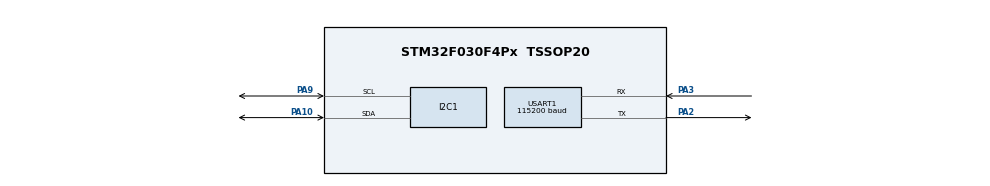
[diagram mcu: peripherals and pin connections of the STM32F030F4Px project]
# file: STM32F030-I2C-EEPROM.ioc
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Dma.Request0=USART1_TX
Dma.USART1_TX.0.Direction=DMA_MEMORY_TO_PERIPH
Dma.USART1_TX.0.Instance=DMA1_Channel4
Dma.USART1_TX.0.MemDataAlignment=DMA_MDATAALIGN_BYTE
Dma.USART1_TX.0.MemInc=DMA_MINC_ENABLE
Dma.USART1_TX.0.Mode=DMA_NORMAL
Dma.USART1_TX.0.PeriphDataAlignment=DMA_PDATAALIGN_BYTE
Dma.USART1_TX.0.PeriphInc=DMA_PINC_DISABLE
Dma.USART1_TX.0.Priority=DMA_PRIORITY_HIGH
Mcu.Family=STM32F0
Mcu.Name=STM32F030F4Px
Mcu.Package=TSSOP20
NVIC.DMA1_Channel4_5_IRQn=true\:0\:0\:false\:false\:true\:false\:true
NVIC.USART1_IRQn=true\:0\:0\:false\:false\:true\:true\:true
PA10.Mode=I2C
PA10.Signal=I2C1_SDA
PA2.Mode=Asynchronous
PA2.Signal=USART1_TX
PA3.Mode=Asynchronous
PA3.Signal=USART1_RX
PA9.Mode=I2C
PA9.Signal=I2C1_SCL
ProjectManager.HeapSize=0x200
ProjectManager.StackSize=0x400
ProjectManager.TargetToolchain=MDK-ARM V5.27
USART1.BaudRate=115200
USART1.VirtualMode-Asynchronous=VM_ASYNC
board=custom

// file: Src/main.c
/* USER CODE BEGIN Header */
/**
  ******************************************************************************
  * @file           : main.c
  * @brief          : Main program body
  ******************************************************************************
  * @attention
  *
  * <h2><center>&copy; Copyright (c) 2020 STMicroelectronics.
  * All rights reserved.</center></h2>
  *
  * This software component is licensed by ST under BSD 3-Clause license,
  * the "License"; You may not use this file except in compliance with the
  * License. You may obtain a copy of the License at:
  *                        opensource.org/licenses/BSD-3-Clause
  *
  ******************************************************************************
  */
/* USER CODE END Header */

#include "main.h"

/* USER CODE BEGIN Includes */

#include <stdio.h>

/* USER CODE END Includes */

I2C_HandleTypeDef hi2c1;

UART_HandleTypeDef huart1;
DMA_HandleTypeDef hdma_usart1_tx;

void SystemClock_Config(void);
static void MX_GPIO_Init(void);
static void MX_DMA_Init(void);
static void MX_I2C1_Init(void);
static void MX_USART1_UART_Init(void);

/* USER CODE BEGIN 0 */

uint8_t UART_TxBuf[50];
uint8_t i2cReadBuf[10];
uint8_t i2cWriteBuf[10];

#define LogLocal(...)  do{}while(HAL_UART_Transmit_DMA(&huart1,UART_TxBuf,sprintf((char *)UART_TxBuf,__VA_ARGS__)))

/* USER CODE END 0 */

int main(void)
{

  /* MCU Configuration--------------------------------------------------------*/

  /* Reset of all peripherals, Initializes the Flash interface and the Systick. */
  HAL_Init();

  /* Configure the system clock */
  SystemClock_Config();

  /* Initialize all configured peripherals */
  MX_GPIO_Init();
  MX_DMA_Init();
  MX_I2C1_Init();
  MX_USART1_UART_Init();
  /* USER CODE BEGIN 2 */

	for(uint8_t _i = 0; _i < 10; _i ++){
		i2cWriteBuf[_i] = '0' + _i;
	}
	if(HAL_I2C_Mem_Write(&hi2c1,0xA0,100,I2C_MEMADD_SIZE_16BIT,i2cWriteBuf,10,10) == HAL_OK){
		LogLocal("I2c Successful\r\n");
	}
	else{
		LogLocal("I2c Error\r\n");
	}

  /* USER CODE END 2 */

  /* Infinite loop */
  while (1)
  {

    /* USER CODE BEGIN 3 */
		HAL_Delay(500);
		if(HAL_OK == HAL_I2C_Mem_Read(&hi2c1,0xa0,100,I2C_MEMADD_SIZE_16BIT,i2cReadBuf,9,10)){
			i2cReadBuf[9] = 0;
			LogLocal("Read:%s\r\n",i2cReadBuf);
		}
		else{
			LogLocal("Read error\r\n");
		}

  }
  /* USER CODE END 3 */
}

void SystemClock_Config(void)
{
  RCC_OscInitTypeDef RCC_OscInitStruct = {0};
  RCC_ClkInitTypeDef RCC_ClkInitStruct = {0};
  RCC_PeriphCLKInitTypeDef PeriphClkInit = {0};

  /** Initializes the CPU, AHB and APB busses clocks
  */
  RCC_OscInitStruct.OscillatorType = RCC_OSCILLATORTYPE_HSI;
  RCC_OscInitStruct.HSIState = RCC_HSI_ON;
  RCC_OscInitStruct.HSICalibrationValue = RCC_HSICALIBRATION_DEFAULT;
  RCC_OscInitStruct.PLL.PLLState = RCC_PLL_NONE;
  if (HAL_RCC_OscConfig(&RCC_OscInitStruct) != HAL_OK)
  {
    Error_Handler();
  }
  /** Initializes the CPU, AHB and APB busses clocks
  */
  RCC_ClkInitStruct.ClockType = RCC_CLOCKTYPE_HCLK|RCC_CLOCKTYPE_SYSCLK
                              |RCC_CLOCKTYPE_PCLK1;
  RCC_ClkInitStruct.SYSCLKSource = RCC_SYSCLKSOURCE_HSI;
  RCC_ClkInitStruct.AHBCLKDivider = RCC_SYSCLK_DIV1;
  RCC_ClkInitStruct.APB1CLKDivider = RCC_HCLK_DIV1;

  if (HAL_RCC_ClockConfig(&RCC_ClkInitStruct, FLASH_LATENCY_0) != HAL_OK)
  {
    Error_Handler();
  }
  PeriphClkInit.PeriphClockSelection = RCC_PERIPHCLK_USART1|RCC_PERIPHCLK_I2C1;
  PeriphClkInit.Usart1ClockSelection = RCC_USART1CLKSOURCE_PCLK1;
  PeriphClkInit.I2c1ClockSelection = RCC_I2C1CLKSOURCE_HSI;
  if (HAL_RCCEx_PeriphCLKConfig(&PeriphClkInit) != HAL_OK)
  {
    Error_Handler();
  }
}

static void MX_I2C1_Init(void)
{

  hi2c1.Instance = I2C1;
  hi2c1.Init.Timing = 0x2000090E;
  hi2c1.Init.OwnAddress1 = 0;
  hi2c1.Init.AddressingMode = I2C_ADDRESSINGMODE_7BIT;
  hi2c1.Init.DualAddressMode = I2C_DUALADDRESS_DISABLE;
  hi2c1.Init.OwnAddress2 = 0;
  hi2c1.Init.OwnAddress2Masks = I2C_OA2_NOMASK;
  hi2c1.Init.GeneralCallMode = I2C_GENERALCALL_DISABLE;
  hi2c1.Init.NoStretchMode = I2C_NOSTRETCH_DISABLE;
  if (HAL_I2C_Init(&hi2c1) != HAL_OK)
  {
    Error_Handler();
  }
  /** Configure Analogue filter
  */
  if (HAL_I2CEx_ConfigAnalogFilter(&hi2c1, I2C_ANALOGFILTER_ENABLE) != HAL_OK)
  {
    Error_Handler();
  }
  /** Configure Digital filter
  */
  if (HAL_I2CEx_ConfigDigitalFilter(&hi2c1, 0) != HAL_OK)
  {
    Error_Handler();
  }

}

static void MX_USART1_UART_Init(void)
{

  huart1.Instance = USART1;
  huart1.Init.BaudRate = 115200;
  huart1.Init.WordLength = UART_WORDLENGTH_8B;
  huart1.Init.StopBits = UART_STOPBITS_1;
  huart1.Init.Parity = UART_PARITY_NONE;
  huart1.Init.Mode = UART_MODE_TX_RX;
  huart1.Init.HwFlowCtl = UART_HWCONTROL_NONE;
  huart1.Init.OverSampling = UART_OVERSAMPLING_16;
  huart1.Init.OneBitSampling = UART_ONE_BIT_SAMPLE_DISABLE;
  huart1.AdvancedInit.AdvFeatureInit = UART_ADVFEATURE_NO_INIT;
  if (HAL_UART_Init(&huart1) != HAL_OK)
  {
    Error_Handler();
  }

}

static void MX_DMA_Init(void)
{

  /* DMA controller clock enable */
  __HAL_RCC_DMA1_CLK_ENABLE();

  /* DMA interrupt init */
  /* DMA1_Channel4_5_IRQn interrupt configuration */
  HAL_NVIC_SetPriority(DMA1_Channel4_5_IRQn, 0, 0);
  HAL_NVIC_EnableIRQ(DMA1_Channel4_5_IRQn);

}

static void MX_GPIO_Init(void)
{

  /* GPIO Ports Clock Enable */
  __HAL_RCC_GPIOA_CLK_ENABLE();

}

void Error_Handler(void)
{
}

/************************ (C) COPYRIGHT STMicroelectronics *****END OF FILE****/
